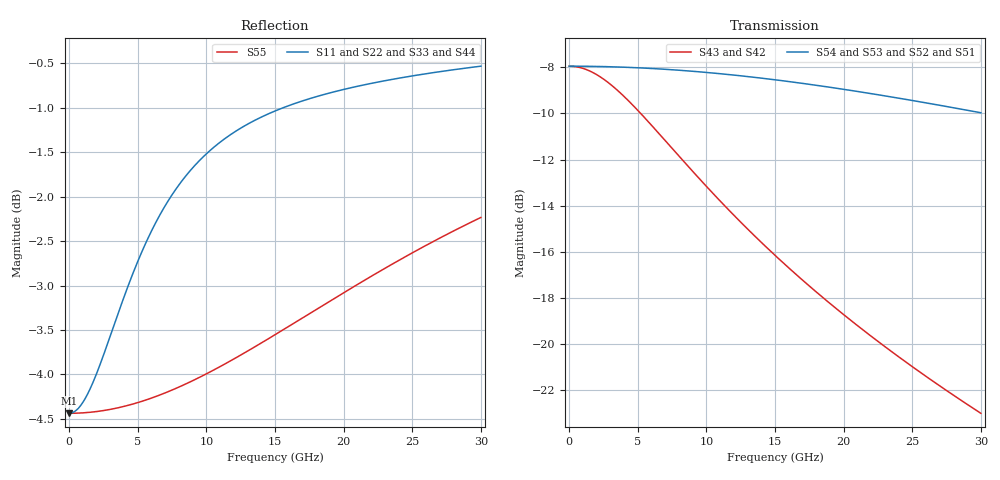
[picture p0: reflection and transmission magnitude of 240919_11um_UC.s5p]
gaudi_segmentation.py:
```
import numpy as np
import skrf as rf
from skrf import Network, Frequency
import torch
import habana_frameworks.torch.core as htcore
from tqdm import tqdm

def process_chunk(chunk, device):
    return torch.tensor(chunk, dtype=torch.float32).to(device)

def compute_merged_z(zap, zpa, zpp, zqq, zbq, zqb, zaa, zbb, device):
    with torch.no_grad():
        Z_AA_temp = torch.matmul(zap, torch.inverse(zpp + zqq))
        Z_AA = zaa - torch.matmul(Z_AA_temp, zpa)
        Z_AB = torch.matmul(Z_AA_temp, zqb)
        Z_BB_temp = torch.matmul(zbq, torch.inverse(zpp + zqq))
        Z_BB = zbb - torch.matmul(Z_BB_temp, zqb)
        Z_BA = torch.matmul(Z_BB_temp, zpa)
    return Z_AA, Z_AB, Z_BB, Z_BA

def pdn_predefined(n, m, uc_all, map, PDN_name, chunk_size=100):
    htcore.hpu_initialize()
    num_gpus = torch.hpu.device_count()
    print(f"Using {num_gpus} Gaudi GPUs")

    devices = [torch.device(f"hpu:{i}") for i in range(num_gpus)]
    current_device = 0

    num_uc = len(uc_all)
    s5p = [i + 1 for i, uc in enumerate(uc_all) if uc.shape[1] == 5]
    new_map = []
    total_port = 0

    uc_all_processed = []
    for uc in tqdm(uc_all, desc="Processing unit cells"):
        chunks = [uc[i:i+chunk_size] for i in range(0, uc.shape[0], chunk_size)]
        processed_chunks = [process_chunk(chunk, devices[i % num_gpus]) for i, chunk in enumerate(chunks)]
        uc_all_processed.append(torch.cat(processed_chunks, dim=0))

    for k in tqdm(range(n), desc="Processing rows"):
        port_num = 0
        #print(map[k, :])
        for i in tqdm(range(m), desc="Processing columns"):
            num = int(map[k][i])
            if i % m == 0:
                if num in s5p:
                    merged_z = uc_all_processed[num - 1]
                    new_map.append(num)
                    current_port = 1
                    port_num += 1
                else:
                    merged_z = uc_all_processed[num - 1]
                    current_port = 0
                    port_num = 0
            else:
                if num in s5p:
                    uc = uc_all_processed[num - 1]
                    new_map.append(num)
                    current_port = 1
                else:
                    uc = uc_all_processed[num - 1]
                    current_port = 0

                i = i - 1
                seg1, seg2, seg3 = merged_z[:, :i+2, :i+2], merged_z[:, :i+2, i+2:i+3], merged_z[:, :i+2, i+3:]
                seg4, seg5, seg6 = merged_z[:, i+2:i+3, :i+2], merged_z[:, i+2:i+3, i+2:i+3], merged_z[:, i+2:i+3, i+3:]
                seg7, seg8, seg9 = merged_z[:, i+3:, :i+2], merged_z[:, i+3:, i+2:i+3], merged_z[:, i+3:, i+3:]

                zaa = torch.cat([torch.cat([seg1, seg3], dim=2), torch.cat([seg7, seg9], dim=2)], dim=1)
                zbb = uc[:, 1:, 1:]
                zpp = seg5
                zqq = uc[:, 0:1, 0:1]
                zap = torch.cat([seg2, seg8], dim=1)
                zpa = torch.cat([seg4, seg6], dim=2)
                zqb = uc[:, 0:1, 1:]
                zbq = uc[:, 1:, 0:1]

                # Distribute computation across GPUs
                Z_AA, Z_AB, Z_BB, Z_BA = [], [], [], []
                for start in range(0, zaa.shape[0], chunk_size):
                    end = min(start + chunk_size, zaa.shape[0])
                    device = devices[current_device]
                    current_device = (current_device + 1) % num_gpus

                    z_aa, z_ab, z_bb, z_ba = compute_merged_z(
                        zap[start:end].to(device), zpa[start:end].to(device),
                        zpp[start:end].to(device), zqq[start:end].to(device),
                        zbq[start:end].to(device), zqb[start:end].to(device),
                        zaa[start:end].to(device), zbb[start:end].to(device),
                        device
                    )
                    Z_AA.append(z_aa.cpu())
                    Z_AB.append(z_ab.cpu())
                    Z_BB.append(z_bb.cpu())
                    Z_BA.append(z_ba.cpu())

                Z_AA, Z_AB, Z_BB, Z_BA = [torch.cat(z, dim=0) for z in (Z_AA, Z_AB, Z_BB, Z_BA)]
                Z_temp = torch.cat([torch.cat([Z_AA, Z_AB], dim=2), torch.cat([Z_BA, Z_BB], dim=2)], dim=1)

                a, b, c, d = i+2, 2*i+3+port_num, 2*i+6+port_num, 2*i+7+port_num
                m1, m2, m3, m4 = Z_temp[:, :a, :a], Z_temp[:, :a, a:b], Z_temp[:, :a, b:c], Z_temp[:, :a, c:d]
                m5, m6, m7, m8 = Z_temp[:, a:b, :a], Z_temp[:, a:b, a:b], Z_temp[:, a:b, b:c], Z_temp[:, a:b, c:d]
                m9, m10, m11, m12 = Z_temp[:, b:c, :a], Z_temp[:, b:c, a:b], Z_temp[:, b:c, b:c], Z_temp[:, b:c, c:d]
                m13, m14, m15, m16 = Z_temp[:, c:d, :a], Z_temp[:, c:d, a:b], Z_temp[:, c:d, b:c], Z_temp[:, c:d, c:d]

                if current_port == 1:
                    temp1 = torch.cat([m1, m3, m2, m4], dim=2)
                    temp2 = torch.cat([m9, m11, m10, m12], dim=2)
                    temp3 = torch.cat([m5, m7, m6, m8], dim=2)
                    temp4 = torch.cat([m13, m15, m14, m16], dim=2)
                    merged_z = torch.cat([temp1, temp2, temp3, temp4], dim=1)
                    port_num += 1
                elif current_port == 0:
                    temp1 = torch.cat([m1, m3, m2], dim=2)
                    temp2 = torch.cat([m9, m11, m10], dim=2)
                    temp3 = torch.cat([m5, m7, m6], dim=2)
                    merged_z = torch.cat([temp1, temp2, temp3], dim=1)

        if k == 0:
            Z_up = merged_z
            total_port = port_num
            seg1, seg2 = Z_up[:, 1:1+m, 1:1+m], Z_up[:, 2+2*m:, 2+2*m:]
            seg3, seg4 = Z_up[:, 1:1+m, 2+2*m:], Z_up[:, 2+2*m:, 1:1+m]
            Z_up = torch.cat([torch.cat([seg1, seg3], dim=2), torch.cat([seg4, seg2], dim=2)], dim=1)
        else:
            Z_lo = merged_z

            zpp = Z_up[:, :m, :m]
            zaa = Z_up[:, m:m+total_port, m:m+total_port]
            zpa = Z_up[:, :m, m:m+total_port]
            zap = Z_up[:, m:m+total_port, :m]

            lo_1, lo_2, lo_3 = Z_lo[:, 1:1+m, 1:1+m], Z_lo[:, 1:1+m, 2+m:2+2*m], Z_lo[:, 1:1+m, 2+2*m:2+2*m+port_num]
            lo_4, lo_5, lo_6 = Z_lo[:, 2+m:2+2*m, 1:1+m], Z_lo[:, 2+m:2+2*m, 2+m:2+2*m], Z_lo[:, 2+m:2+2*m, 2+2*m:2+2*m+port_num]
            lo_7, lo_8, lo_9 = Z_lo[:, 2+2*m:2+2*m+port_num, 1:1+m], Z_lo[:, 2+2*m:2+2*m+port_num, 2+m:2+2*m], Z_lo[:, 2+2*m:2+2*m+port_num, 2+2*m:2+2*m+port_num]

            zbb = torch.cat([torch.cat([lo_1, lo_3], dim=2), torch.cat([lo_7, lo_9], dim=2)], dim=1)
            zqq = lo_5
            zbq = torch.cat([lo_2, lo_8], dim=1)
            zqb = torch.cat([lo_4, lo_6], dim=2)

            # Distribute computation across GPUs
            Z_AA, Z_AB, Z_BB, Z_BA = [], [], [], []
            for start in range(0, zaa.shape[0], chunk_size):
                end = min(start + chunk_size, zaa.shape[0])
                device = devices[current_device]
                current_device = (current_device + 1) % num_gpus

                z_aa, z_ab, z_bb, z_ba = compute_merged_z(
                    zap[start:end].to(device), zpa[start:end].to(device),
                    zpp[start:end].to(device), zqq[start:end].to(device),
                    zbq[start:end].to(device), zqb[start:end].to(device),
                    zaa[start:end].to(device), zbb[start:end].to(device),
                    device
                )
                Z_AA.append(z_aa.cpu())
                Z_AB.append(z_ab.cpu())
                Z_BB.append(z_bb.cpu())
                Z_BA.append(z_ba.cpu())

            Z_AA, Z_AB, Z_BB, Z_BA = [torch.cat(z, dim=0) for z in (Z_AA, Z_AB, Z_BB, Z_BA)]
            Z_temp = torch.cat([torch.cat([Z_AA, Z_AB], dim=2), torch.cat([Z_BA, Z_BB], dim=2)], dim=1)

            Z_1, Z_2, Z_3 = Z_temp[:, :total_port, :total_port], Z_temp[:, :total_port, total_port:total_port+m], Z_temp[:, :total_port, total_port+m:total_port+m+port_num]
            Z_4, Z_5, Z_6 = Z_temp[:, total_port:total_port+m, :total_port], Z_temp[:, total_port:total_port+m, total_port:total_port+m], Z_temp[:, total_port:total_port+m, total_port+m:total_port+m+port_num]
            Z_7, Z_8, Z_9 = Z_temp[:, total_port+m:total_port+m+port_num, :total_port], Z_temp[:, total_port+m:total_port+m+port_num, total_port:total_port+m], Z_temp[:, total_port+m:total_port+m+port_num, total_port+m:total_port+m+port_num]

            Z = torch.cat([torch.cat([Z_5, Z_4, Z_6], dim=2), torch.cat([Z_2, Z_1, Z_3], dim=2), torch.cat([Z_8, Z_7, Z_9], dim=2)], dim=1)

            Z_up = Z
            total_port = total_port + port_num

    num_port = Z_up.size(1) - total_port
    PDN = Z_up[:, num_port:, num_port:]
    print("PDN shape", PDN.shape)
    print("new map", new_map)

    return PDN.numpy(), new_map

if __name__ == "__main__":
    PDN_name = 'gaudi'
    int_N, int_M = 1000, 1000

    snp1 = rf.Network('data/S_para/240919_11um_UC.s5p')
    uc1 = rf.network.s2z(snp1._s, z0=50)

    uc = [uc1]
    PDN_map = np.ones((int_N, int_M))

    PDN, new_map = pdn_predefined(int_N, int_M, uc, PDN_map, PDN_name)

    np.save(f'final_model/{int_N}_by_{int_M}_PDN_{PDN_name}.npy', PDN)
    np.save(f'final_model/final_map_{PDN_name}.npy', new_map)

htcore.hpu_finalize()
```
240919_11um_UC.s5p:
! Created Thu Sep 19 17:35:40 2024
# hz S ma R 50
! 5 Port Network Data from SP1.SP block
! freq  magS11  angS11  magS12  angS12  magS13  angS13  magS14  angS14
!  magS15  angS15
!  magS21  angS21  magS22  angS22  magS23  angS23
!  magS24  angS24  magS25  angS25
!  magS31  angS31  magS32  angS32
!  magS33  angS33  magS34  angS34  magS35  angS35
!  magS41  angS41
!  magS42  angS42  magS43  angS43  magS44  angS44  magS45  angS45
!  magS51  angS51  magS52  angS52  magS53  angS53  magS54  angS54
!  magS55  angS55
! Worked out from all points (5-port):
!   1001 points, 10 Hz to 30 GHz, reference 50 ohm
!   strongest paths, dB at 10 Hz, 7.5 GHz, 15 GHz, 22.5 GHz, 30 GHz:
!     S54: -8.0, -8.1, -8.5, -9.2, -10.0
!     S53: -8.0, -8.1, -8.5, -9.2, -10.0
!     S52: -8.0, -8.1, -8.5, -9.2, -10.0
!     S51: -8.0, -8.1, -8.5, -9.2, -10.0
!     S43: -8.0, -11.5, -16.1, -19.9, -23.0
!     S42: -8.0, -11.5, -16.1, -19.9, -23.0
!   lowest |S11| = -4.4 dB at 10 Hz (marker M1), VSWR 4.00, Z = 12.5 + j2.87e-15 ohm
!   |S11| at or under -10 dB: nowhere
